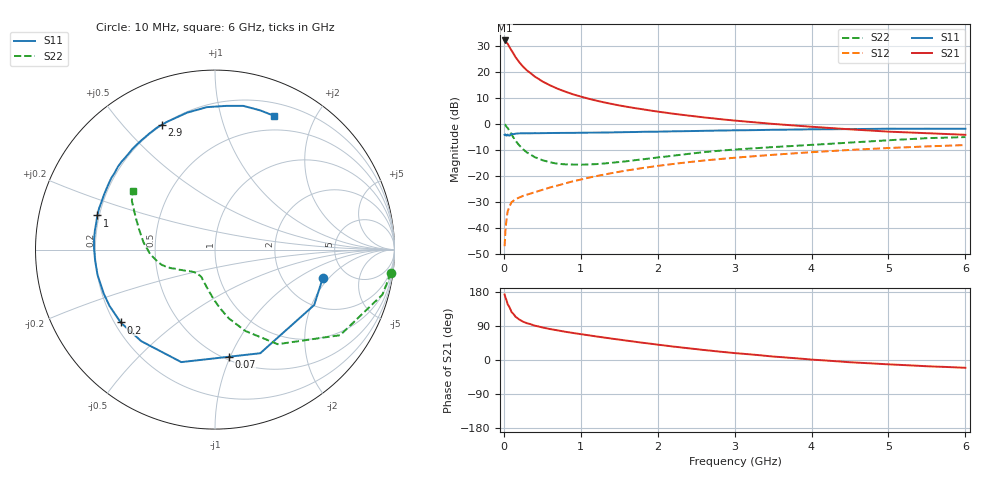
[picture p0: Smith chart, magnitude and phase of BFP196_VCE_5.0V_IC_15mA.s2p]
! Infineon Technologies  Discrete & RF Semiconductors
! BFP196
! VCE =  5.0 V,  IC =  15 mA
! Common Emitter S-Parameters:  Jan 2017
# GHz  S  MA  R  50
!  f  S11  S21  S12  S22
! GHz  MAG  ANG  MAG  ANG  MAG  ANG  MAG  ANG
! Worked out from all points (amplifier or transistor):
!   77 points, 10 MHz to 6 GHz, reference 50 ohm
!   highest |S21| = 32.2 dB at 10 MHz (marker M1)
!   |S21| within 3 dB of that: start of sweep to 82.6 MHz
!   unconditionally stable (mu >= 1): 861.2 MHz to 2.398 GHz
!   at 130 MHz: K = 0.31, MSG = 28.1 dB, |S12| = -29.3 dB
!   at 2.2 GHz: K = 1.01, MAG = 8.9 dB, |S12| = -15.3 dB
!   at 6 GHz: K = 0.92, MSG = 2.0 dB, |S12| = -8.0 dB
!   S11 on the Smith chart (normalised r, x): 10 MHz: 3.32, -1.72; 70 MHz: 0.53, -0.99; 200 MHz: 0.22, -0.33; 1 GHz: 0.19, +0.14; 2.9 GHz: 0.20, +0.64; 6 GHz: 0.34, +1.49
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0.01  0.6211 -14.8  40.59 172.7  0.0045 84.7  0.9891 -7.5
0.02  0.6331 -29.2  40.13 165.8  0.0086 80.7  0.9658 -15.1
0.05  0.63 -66.4  35.01 147.1  0.0211 64.1  0.8444 -34.4
0.07  0.6019 -82.7  30.99 140.3  0.0251 56.9  0.7469 -41.7
0.1  0.6544 -106.7  26.08 126.6  0.0316 49.6  0.632 -56.5
0.15  0.6551 -128.9  19.62 114.6  0.0358 43.0  0.4834 -69.6
0.2  0.664 -142.3  15.52 106.9  0.0388 41.1  0.3912 -78.6
0.25  0.6663 -151.9  12.73 101.1  0.0417 40.9  0.3286 -85.0
0.3  0.6666 -158.5  10.78 97.1  0.044 41.7  0.2848 -90.4
0.4  0.6696 -167.8  8.242 90.7  0.0489 44.2  0.2324 -98.7
0.5  0.6708 -174.9  6.637 85.9  0.0544 46.8  0.2029 -105.2
0.6  0.6738 179.6  5.574 81.7  0.0605 48.7  0.1846 -110.9
0.7  0.6764 175.1  4.786 78.2  0.066 51.0  0.1728 -115.2
1  0.6825 163.8  3.385 68.2  0.0858 54.0  0.1657 -126.5
1.1  0.6854 160.5  3.084 65.3  0.0932 54.6  0.1676 -129.2
1.5  0.6971 148.2  2.288 53.8  0.1213 54.0  0.1868 -140.0
2.1  0.7206 131.4  1.662 38.1  0.1642 50.1  0.2374 -152.5
2.9  0.7558 113.1  1.21 20.3  0.219 42.4  0.3159 -165.7
3.1  0.762 109.1  1.136 16.6  0.2318 40.2  0.3315 -169.4
4.1  0.7955 91.7  0.87 -0.2  0.2944 29.4  0.407 172.2
5.1  0.8151 77.5  0.707 -12.4  0.3519 17.6  0.4984 154.5
6  0.8147 66.0  0.623 -20.5  0.3962 7.3  0.5637 144.3
